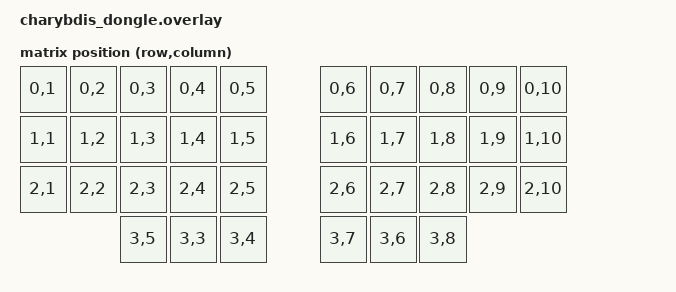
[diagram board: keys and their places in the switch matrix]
#include <dt-bindings/zmk/matrix_transform.h>
#include <dt-bindings/pwm/pwm.h>
#include <input/processors.dtsi>

/ {
    chosen {
        zmk,kscan = &mock_kscan;
        zmk,matrix-transform = &default_transform;
    };

    /* Transform copied verbatim from charybdis_nano.dtsi so the dongle's
     * key positions line up with the halves. The dongle has no physical
     * keys, hence the mock kscan. */
    default_transform: keymap_transform_0 {
        compatible = "zmk,matrix-transform";
        columns = <12>;
        rows = <4>;

        map = <
            RC(0,1) RC(0,2) RC(0,3) RC(0,4) RC(0,5)  RC(0,6) RC(0,7) RC(0,8) RC(0,9) RC(0,10)
            RC(1,1) RC(1,2) RC(1,3) RC(1,4) RC(1,5)  RC(1,6) RC(1,7) RC(1,8) RC(1,9) RC(1,10)
            RC(2,1) RC(2,2) RC(2,3) RC(2,4) RC(2,5)  RC(2,6) RC(2,7) RC(2,8) RC(2,9) RC(2,10)
                                    RC(3,5) RC(3,3) RC(3,4)  RC(3,7) RC(3,6) RC(3,8)
        >;
    };

    mock_kscan: kscan_mock {
        compatible = "zmk,kscan-mock";
        columns = <0>;
        rows = <0>;
        events = <0>;
    };

    splits {
        #address-cells = <1>;
        #size-cells = <0>;
        trackball_split: trackball_split@0 {
            compatible = "zmk,input-split";
            reg = <0>;
        };
    };

    trackball_listener: trackball_listener {
        compatible = "zmk,input-listener";
        device = <&trackball_split>;

        scroller {
            layers = <9>;
            input-processors = <&zip_xy_to_scroll_mapper>;
        };
    };
};

/ {
    chosen {
        zephyr,display = &st7789;
    };

    pwmleds {
        compatible = "pwm-leds";
        disp_bl: pwm_led_1 {
            pwms = <&pwm1 0 PWM_MSEC(1) PWM_POLARITY_NORMAL>;
        };
    };

};

&spi2 { status = "disabled"; };

&pinctrl {
    spi3_default: spi3_default {
        group1 {
            psels = <NRF_PSEL(SPIM_SCK, 1, 13)>,
                    <NRF_PSEL(SPIM_MOSI, 1, 15)>,
                    <NRF_PSEL(SPIM_MISO, 1, 10)>;
        };
    };
    spi3_sleep: spi3_sleep {
        group1 {
            psels = <NRF_PSEL(SPIM_SCK, 1, 13)>,
                    <NRF_PSEL(SPIM_MOSI, 1, 15)>,
                    <NRF_PSEL(SPIM_MISO, 1, 10)>;
            low-power-enable;
        };
    };
    pwm1_default: pwm1_default {
        group1 { psels = <NRF_PSEL(PWM_OUT0, 1, 11)>; nordic,invert; };
    };
    pwm1_sleep: pwm1_sleep {
        group1 { psels = <NRF_PSEL(PWM_OUT0, 1, 11)>; low-power-enable; };
    };
};

&spi3 {
    status = "okay";
    pinctrl-0 = <&spi3_default>;
    pinctrl-1 = <&spi3_sleep>;
    pinctrl-names = "default", "sleep";
    cs-gpios = <&xiao_d 9 GPIO_ACTIVE_LOW>;
    #address-cells = <1>;
    #size-cells = <0>;

    st7789: st7789v@0 {
        compatible = "sitronix,st7789v";
        spi-max-frequency = <30000000>;
        reg = <0>;
        cmd-data-gpios = <&xiao_d 7 GPIO_ACTIVE_LOW>;
        reset-gpios = <&xiao_d 3 GPIO_ACTIVE_LOW>;
        width = <284>;
        height = <76>;
        x-offset = <82>;
        y-offset = <18>;
        vcom = <0x19>;
        gctrl = <0x35>;
        vrhs = <0x12>;
        vdvs = <0x20>;
        mdac = <0x00>;
        gamma = <0x01>;
        colmod = <0x05>;
        lcm = <0x2c>;
        porch-param = [ 0c 0c 00 33 33 ];
        cmd2en-param = [ 5a 69 02 01 ];
        pwctrl1-param = [ a4 a1 ];
        pvgam-param = [ D0 04 0D 11 13 2B 3F 54 4C 18 0D 0B 1F 23 ];
        nvgam-param = [ D0 04 0C 11 13 2C 3F 44 51 2F 1F 1F 20 23 ];
        ram-param = [ 00 F0 ];
        rgb-param = [ CD 08 14 ];
    };
};

&pwm1 {
    status = "okay";
    pinctrl-0 = <&pwm1_default>;
    pinctrl-1 = <&pwm1_sleep>;
    pinctrl-names = "default", "sleep";
};
